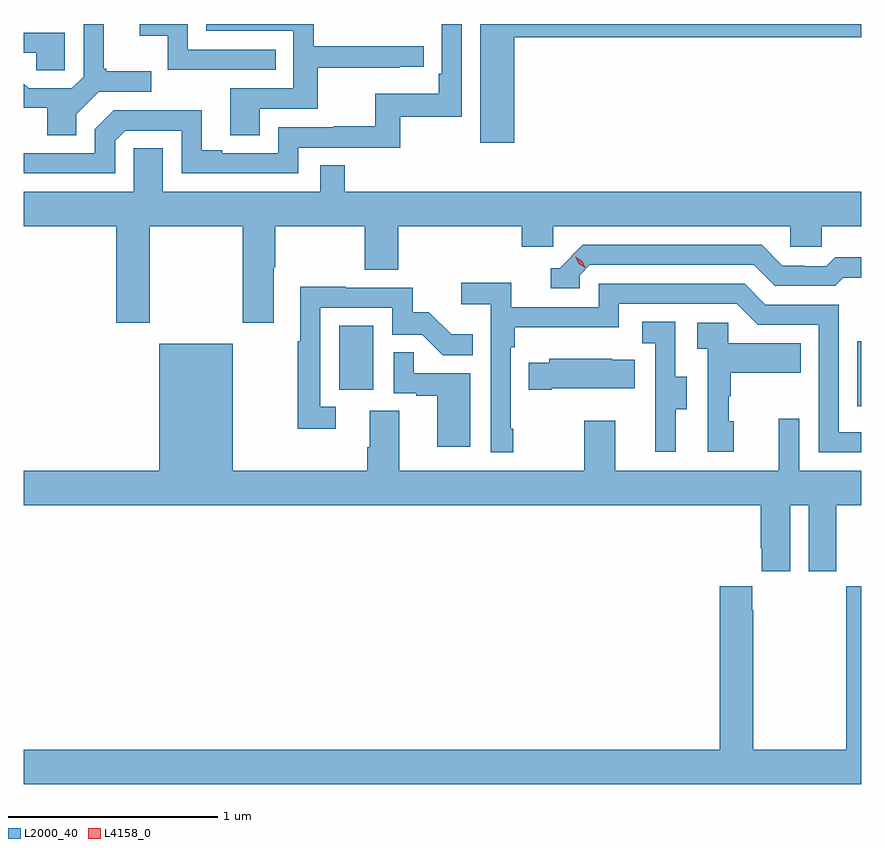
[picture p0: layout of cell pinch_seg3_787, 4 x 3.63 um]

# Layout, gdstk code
import gdstk
lib = gdstk.Library(unit=1e-6, precision=1e-09)
def R(c, l, rs):  # rectangles x0, y0, x1, y1
    for r in rs: c.add(gdstk.rectangle(r[:2], r[2:], *l))
def P(c, l, *ps):  # polygons
    for p in ps: c.add(gdstk.Polygon(p, *l))
L2000_40 = (2000, 40)
L4158_0 = (4158, 0)

pinch_seg3_787 = lib.new_cell('pinch_seg3_787')
R(pinch_seg3_787, L2000_40, [(820.92,708.048,820.938,708.358), (818.444,708.126,818.608,708.433)])
P(pinch_seg3_787, L2000_40, [(818.141,709.752),(817.722,709.752),(817.722,709.874),(817.493,709.874),(817.493,709.817),(817.626,709.817),(817.626,709.656),(818.141,709.656)],
  [(818.065,709.47),(818.342,709.47),(818.342,709.666),(818.735,709.666),(818.735,709.671),(818.848,709.671),(818.848,709.767),(818.322,709.767),(818.322,709.874),(817.81,709.874),(817.81,709.842),(818.226,709.842),(818.226,709.566),(817.925,709.566),(817.925,709.342),(818.065,709.342)],
  [(817.189,709.444),(817.296,709.551),(817.546,709.551),(817.546,709.648),(817.333,709.648),(817.333,709.66),(817.321,709.66),(817.321,709.874),(817.224,709.874),(817.224,709.623),(817.167,709.566),(816.961,709.566),(816.938,709.589),(816.938,709.474),(817.049,709.474),(817.049,709.342),(817.189,709.342)],
  [(817.374,709.317),(817.422,709.365),(817.692,709.365),(817.692,709.161),(818.25,709.161),(818.25,709.284),(818.737,709.284),(818.737,709.431),(819.03,709.431),(819.03,709.874),(818.934,709.874),(818.934,709.636),(818.921,709.636),(818.921,709.54),(818.616,709.54),(818.616,709.385),(818.419,709.385),(818.419,709.38),(818.154,709.38),(818.154,709.257),(817.885,709.257),(817.885,709.27),(817.789,709.27),(817.789,709.463),(817.584,709.463),(817.584,709.461),(817.368,709.461),(817.278,709.371),(817.278,709.257),(816.938,709.257),(816.938,709.161),(817.374,709.161)],
  [(819.28,709.81),(820.938,709.81),(820.938,709.874),(819.119,709.874),(819.119,709.308),(819.28,709.308)],
  [(817.134,709.833),(816.938,709.833),(816.938,709.737),(816.997,709.737),(816.997,709.653),(817.134,709.653)],
  [(817.539,708.908),(817.984,708.908),(817.984,708.447),(818.131,708.447),(818.131,708.712),(818.139,708.712),(818.139,708.908),(818.566,708.908),(818.566,708.7),(818.726,708.7),(818.726,708.908),(819.317,708.908),(819.317,708.81),(819.468,708.81),(819.468,708.908),(820.599,708.908),(820.599,708.81),(820.749,708.81),(820.749,708.908),(820.938,708.908),(820.938,709.072),(818.471,709.072),(818.471,709.199),(818.355,709.199),(818.355,709.072),(817.603,709.072),(817.603,709.28),(817.464,709.28),(817.464,709.072),(816.938,709.072),(816.938,708.908),(817.379,708.908),(817.379,708.447),(817.539,708.447)],
  [(819.594,708.675),(819.642,708.723),(820.425,708.723),(820.524,708.624),(820.813,708.624),(820.852,708.663),(820.938,708.663),(820.938,708.76),(820.813,708.76),(820.771,708.717),(820.668,708.717),(820.668,708.72),(820.561,708.72),(820.462,708.819),(819.609,708.819),(819.498,708.708),(819.455,708.708),(819.455,708.612),(819.594,708.612)],
  [(819.277,707.941),(819.264,707.941),(819.264,708.329),(819.284,708.329),(819.284,708.425),(819.78,708.425),(819.78,708.537),(820.344,708.537),(820.443,708.438),(820.734,708.438),(820.734,707.829),(820.938,707.829),(820.938,707.925),(820.83,707.925),(820.83,708.534),(820.48,708.534),(820.381,708.633),(819.684,708.633),(819.684,708.522),(819.266,708.522),(819.266,708.638),(819.027,708.638),(819.027,708.536),(819.168,708.536),(819.168,707.829),(819.277,707.829)],
  [(818.428,708.045),(818.355,708.045),(818.355,708.519),(818.697,708.519),(818.697,708.39),(818.841,708.39),(818.939,708.292),(819.083,708.292),(819.083,708.391),(818.979,708.391),(818.872,708.498),(818.796,708.498),(818.796,708.615),(818.477,708.615),(818.477,708.62),(818.259,708.62),(818.259,708.359),(818.247,708.359),(818.247,707.94),(818.428,707.94)],
  [(820.051,708.034),(820.105,708.034),(820.105,708.189),(820.05,708.189),(820.05,708.452),(819.891,708.452),(819.891,708.349),(819.954,708.349),(819.954,708.045),(819.953,708.045),(819.953,707.832),(820.051,707.832)],
  [(820.33,707.976),(820.305,707.976),(820.305,708.095),(820.315,708.095),(820.315,708.209),(820.649,708.209),(820.649,708.349),(820.302,708.349),(820.302,708.447),(820.155,708.447),(820.155,708.323),(820.206,708.323),(820.206,707.832),(820.33,707.832)],
  [(820.6,707.576),(820.688,707.576),(820.688,707.259),(820.819,707.259),(820.819,707.576),(820.938,707.576),(820.938,707.74),(820.641,707.74),(820.641,707.989),(820.544,707.989),(820.544,707.74),(819.763,707.74),(819.763,707.98),(819.616,707.98),(819.616,707.74),(818.731,707.74),(818.731,708.026),(818.591,708.026),(818.591,707.852),(818.579,707.852),(818.579,707.74),(817.936,707.74),(817.936,708.346),(817.586,708.346),(817.586,707.74),(816.938,707.74),(816.938,707.576),(820.457,707.576),(820.457,707.371),(820.463,707.371),(820.463,707.259),(820.6,707.259)],
  [(819.07,708.207),(818.801,708.207),(818.801,708.305),(818.706,708.305),(818.706,708.111),(818.813,708.111),(818.813,708.099),(818.912,708.099),(818.912,707.856),(819.07,707.856)],
  [(819.46,708.134),(819.857,708.134),(819.857,708.271),(819.749,708.271),(819.749,708.274),(819.447,708.274),(819.447,708.256),(819.349,708.256),(819.349,708.127),(819.46,708.127)],
  [(820.938,707.188),(820.867,707.188),(820.867,706.408),(820.422,706.408),(820.422,707.075),(820.417,707.075),(820.417,707.188),(820.262,707.188),(820.262,706.408),(816.938,706.408),(816.938,706.244),(820.938,706.244)])
P(pinch_seg3_787, L4158_0, [(819.619,708.71),(819.589,708.73),(819.573,708.762),(819.573,708.763),(819.573,708.763),(819.604,708.743),(819.62,708.711),(819.62,708.71)])

lib.write_gds('pinch_seg3_787.gds')
